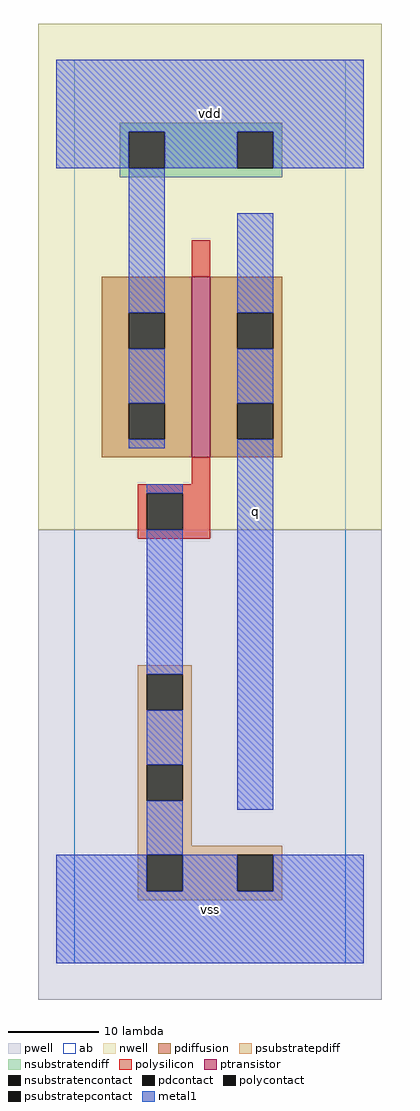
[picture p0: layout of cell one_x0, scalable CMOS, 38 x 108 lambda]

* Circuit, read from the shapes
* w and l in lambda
.subckt one_x0 q vdd vss
M1 q vss vdd vdd pfet w=20 l=2
.ends

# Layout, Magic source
magic
tech scmos
<< ab >>
rect 0 0 30 100
<< pwell >>
rect -4 -4 34 48
<< nwell >>
rect -4 48 34 104
<< polysilicon >>
rect 13 76 15 80
rect 13 53 15 56
rect 7 52 15 53
rect 7 48 8 52
rect 12 48 15 52
rect 7 47 15 48
<< pdiffusion >>
rect 3 72 13 76
rect 3 68 6 72
rect 10 68 13 72
rect 3 62 13 68
rect 3 58 6 62
rect 10 58 13 62
rect 3 56 13 58
rect 15 72 23 76
rect 15 68 18 72
rect 22 68 23 72
rect 15 62 23 68
rect 15 58 18 62
rect 22 58 23 62
rect 15 56 23 58
<< metal1 >>
rect -2 92 32 100
rect -2 88 6 92
rect 10 88 18 92
rect 22 88 32 92
rect 6 72 10 88
rect 6 62 10 68
rect 6 57 10 58
rect 18 72 22 83
rect 18 62 22 68
rect 8 52 12 53
rect 8 32 12 48
rect 8 22 12 28
rect 8 12 12 18
rect 18 17 22 58
rect -2 8 8 12
rect 12 8 18 12
rect 22 8 32 12
rect -2 0 32 8
<< ptransistor >>
rect 13 56 15 76
<< polycontact >>
rect 8 48 12 52
<< pdcontact >>
rect 6 68 10 72
rect 6 58 10 62
rect 18 68 22 72
rect 18 58 22 62
<< psubstratepcontact >>
rect 8 28 12 32
rect 8 18 12 22
rect 8 8 12 12
rect 18 8 22 12
<< nsubstratencontact >>
rect 6 88 10 92
rect 18 88 22 92
<< psubstratepdiff >>
rect 7 32 13 33
rect 7 28 8 32
rect 12 28 13 32
rect 7 22 13 28
rect 7 18 8 22
rect 12 18 13 22
rect 7 13 13 18
rect 7 12 23 13
rect 7 8 8 12
rect 12 8 18 12
rect 22 8 23 12
rect 7 7 23 8
<< nsubstratendiff >>
rect 5 92 23 93
rect 5 88 6 92
rect 10 88 18 92
rect 22 88 23 92
rect 5 87 23 88
<< labels >>
rlabel metal1 15 6 15 6 6 vss
rlabel metal1 20 50 20 50 6 q
rlabel metal1 15 94 15 94 6 vdd
<< end >>
